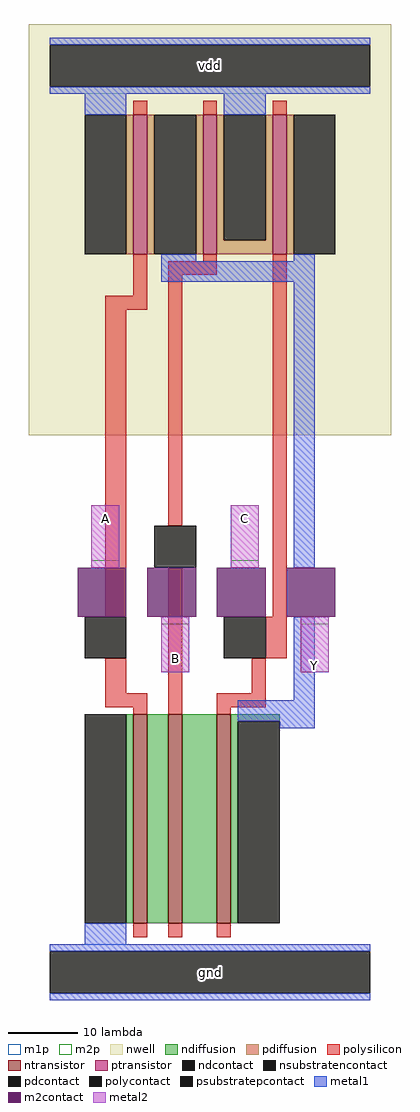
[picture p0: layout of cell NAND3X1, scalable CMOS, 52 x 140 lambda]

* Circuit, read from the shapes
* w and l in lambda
.subckt NAND3X1 A B C Y vdd gnd
M1 n1 A gnd gnd nfet w=30 l=2
M2 n2 B n1 gnd nfet w=30 l=2
M3 Y C n2 gnd nfet w=30 l=2
M4 Y A vdd vdd pfet w=20 l=2
M5 vdd B Y vdd pfet w=20 l=2
M6 Y C vdd vdd pfet w=20 l=2
.ends

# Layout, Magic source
magic
tech scmos
<< nwell >>
rect -6 77 46 136
<< ntransistor >>
rect 9 7 11 37
rect 14 7 16 37
rect 21 7 23 37
<< ptransistor >>
rect 9 103 11 123
rect 19 103 21 123
rect 29 103 31 123
<< ndiffusion >>
rect 8 7 9 37
rect 11 7 14 37
rect 16 7 21 37
rect 23 36 30 37
rect 23 7 24 36
<< pdiffusion >>
rect 8 103 9 123
rect 11 103 12 123
rect 18 103 19 123
rect 21 105 22 123
rect 28 105 29 123
rect 21 103 29 105
rect 31 103 32 123
<< ndcontact >>
rect 2 7 8 37
rect 24 7 30 36
<< pdcontact >>
rect 2 103 8 123
rect 12 103 18 123
rect 22 105 28 123
rect 32 103 38 123
<< psubstratepcontact >>
rect -3 -3 43 3
<< nsubstratencontact >>
rect -3 127 43 133
<< polysilicon >>
rect 9 123 11 125
rect 19 123 21 125
rect 29 123 31 125
rect 9 97 11 103
rect 19 102 21 103
rect 5 95 11 97
rect 14 100 21 102
rect 5 51 8 95
rect 14 64 16 100
rect 5 40 8 45
rect 5 38 11 40
rect 9 37 11 38
rect 14 37 16 58
rect 29 51 31 103
rect 28 45 31 51
rect 26 40 28 45
rect 21 38 28 40
rect 21 37 23 38
rect 9 5 11 7
rect 14 5 16 7
rect 21 5 23 7
<< polycontact >>
rect 12 58 18 64
rect 2 45 8 51
rect 22 45 28 51
<< metal1 >>
rect -3 133 43 134
rect -3 126 43 127
rect 2 123 8 126
rect 22 123 28 126
rect 13 102 18 103
rect 32 102 35 103
rect 13 99 35 102
rect 32 58 35 99
rect 32 39 35 51
rect 24 36 35 39
rect 30 35 35 36
rect 2 4 8 7
rect -3 3 43 4
rect -3 -4 43 -3
<< m2contact >>
rect 1 51 8 58
rect 11 51 18 58
rect 21 51 28 58
rect 31 51 38 58
<< metal2 >>
rect 3 58 7 67
rect 23 58 27 67
rect 13 43 17 51
rect 33 43 37 51
<< m1p >>
rect -3 126 43 134
rect -3 -4 43 4
<< m2p >>
rect 3 59 7 67
rect 23 59 27 67
rect 13 43 17 50
rect 33 43 37 50
<< labels >>
rlabel metal2 5 65 5 65 1 A
port 1 n signal input
rlabel metal2 15 45 15 45 5 B
port 2 n signal input
rlabel metal2 25 65 25 65 1 C
port 3 n signal input
rlabel metal2 35 44 35 44 5 Y
port 4 n signal output
rlabel metal1 -3 126 43 134 0 vdd
port 5 nsew power bidirectional abutment
rlabel metal1 -3 -4 43 4 0 gnd
port 6 nsew ground bidirectional abutment
<< properties >>
string FIXED_BBOX 0 0 40 130
string LEFclass CORE
string LEFsite core
string LEFsymmetry X Y
<< end >>
